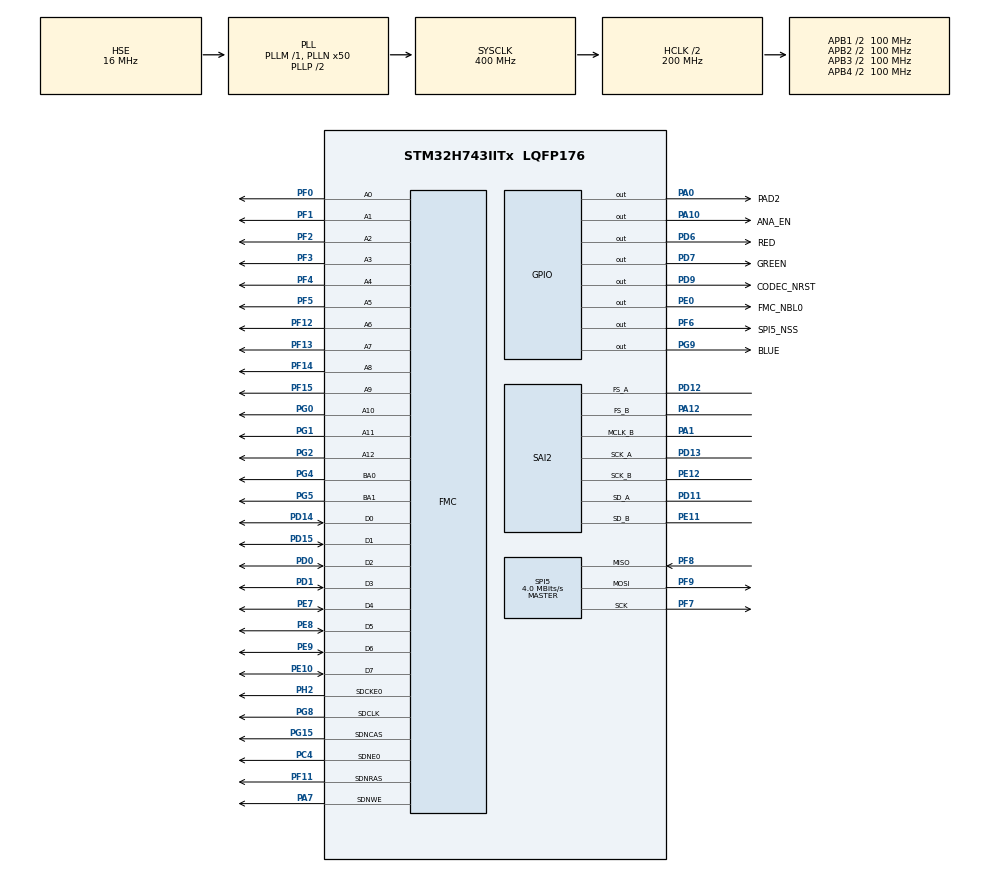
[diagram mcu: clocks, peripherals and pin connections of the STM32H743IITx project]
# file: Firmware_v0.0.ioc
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Bdma.MEMTOMEM.0.Direction=DMA_MEMORY_TO_MEMORY
Bdma.MEMTOMEM.0.EventEnable=DISABLE
Bdma.MEMTOMEM.0.Instance=BDMA_Channel0
Bdma.MEMTOMEM.0.MemDataAlignment=DMA_MDATAALIGN_BYTE
Bdma.MEMTOMEM.0.MemInc=DMA_MINC_ENABLE
Bdma.MEMTOMEM.0.Mode=DMA_NORMAL
Bdma.MEMTOMEM.0.PeriphDataAlignment=DMA_PDATAALIGN_WORD
Bdma.MEMTOMEM.0.PeriphInc=DMA_PINC_ENABLE
Bdma.MEMTOMEM.0.Polarity=HAL_DMAMUX_REQ_GEN_RISING
Bdma.MEMTOMEM.0.Priority=DMA_PRIORITY_LOW
Bdma.MEMTOMEM.0.RequestNumber=1
Bdma.MEMTOMEM.0.SignalID=HAL_DMAMUX2_REQ_GEN_LPTIM3_WKUP
Bdma.MEMTOMEM.0.SyncEnable=DISABLE
Bdma.MEMTOMEM.0.SyncPolarity=HAL_DMAMUX_SYNC_NO_EVENT
Bdma.MEMTOMEM.0.SyncRequestNumber=1
Bdma.MEMTOMEM.0.SyncSignalID=HAL_DMAMUX2_SYNC_LPTIM3_OUT
Bdma.Request0=MEMTOMEM
Bdma.RequestsNb=1
CORTEX_M7.CPU_DCache=Disabled
CORTEX_M7.CPU_ICache=Disabled
Dma.MEMTOMEM.0.Direction=DMA_MEMORY_TO_MEMORY
Dma.MEMTOMEM.0.EventEnable=DISABLE
Dma.MEMTOMEM.0.FIFOMode=DMA_FIFOMODE_ENABLE
Dma.MEMTOMEM.0.FIFOThreshold=DMA_FIFO_THRESHOLD_FULL
Dma.MEMTOMEM.0.Instance=DMA1_Stream2
Dma.MEMTOMEM.0.MemBurst=DMA_MBURST_SINGLE
Dma.MEMTOMEM.0.MemDataAlignment=DMA_MDATAALIGN_BYTE
Dma.MEMTOMEM.0.MemInc=DMA_MINC_DISABLE
Dma.MEMTOMEM.0.Mode=DMA_NORMAL
Dma.MEMTOMEM.0.PeriphBurst=DMA_PBURST_SINGLE
Dma.MEMTOMEM.0.PeriphDataAlignment=DMA_PDATAALIGN_BYTE
Dma.MEMTOMEM.0.PeriphInc=DMA_PINC_DISABLE
Dma.MEMTOMEM.0.Polarity=HAL_DMAMUX_REQ_GEN_RISING
Dma.MEMTOMEM.0.Priority=DMA_PRIORITY_VERY_HIGH
Dma.MEMTOMEM.0.RequestNumber=1
Dma.MEMTOMEM.0.SignalID=HAL_DMAMUX1_REQ_GEN_LPTIM3_OUT
Dma.MEMTOMEM.0.SyncEnable=DISABLE
Dma.MEMTOMEM.0.SyncPolarity=HAL_DMAMUX_SYNC_NO_EVENT
Dma.MEMTOMEM.0.SyncRequestNumber=1
Dma.MEMTOMEM.0.SyncSignalID=HAL_DMAMUX1_SYNC_LPTIM3_OUT
Dma.Request0=MEMTOMEM
Dma.Request1=SAI2_A
Dma.Request2=SAI2_B
Dma.SAI2_A.1.Direction=DMA_PERIPH_TO_MEMORY
Dma.SAI2_A.1.EventEnable=DISABLE
Dma.SAI2_A.1.FIFOMode=DMA_FIFOMODE_ENABLE
Dma.SAI2_A.1.FIFOThreshold=DMA_FIFO_THRESHOLD_FULL
Dma.SAI2_A.1.Instance=DMA1_Stream0
Dma.SAI2_A.1.MemBurst=DMA_MBURST_SINGLE
Dma.SAI2_A.1.MemDataAlignment=DMA_MDATAALIGN_WORD
Dma.SAI2_A.1.MemInc=DMA_MINC_ENABLE
Dma.SAI2_A.1.Mode=DMA_CIRCULAR
Dma.SAI2_A.1.PeriphBurst=DMA_PBURST_SINGLE
Dma.SAI2_A.1.PeriphDataAlignment=DMA_PDATAALIGN_WORD
Dma.SAI2_A.1.PeriphInc=DMA_PINC_DISABLE
Dma.SAI2_A.1.Polarity=HAL_DMAMUX_REQ_GEN_RISING
Dma.SAI2_A.1.Priority=DMA_PRIORITY_HIGH
Dma.SAI2_A.1.RequestNumber=1
Dma.SAI2_A.1.SignalID=HAL_DMAMUX1_REQ_GEN_LPTIM3_OUT
Dma.SAI2_A.1.SyncEnable=DISABLE
Dma.SAI2_A.1.SyncPolarity=HAL_DMAMUX_SYNC_NO_EVENT
Dma.SAI2_A.1.SyncRequestNumber=1
Dma.SAI2_A.1.SyncSignalID=HAL_DMAMUX1_SYNC_LPTIM3_OUT
Dma.SAI2_B.2.Direction=DMA_MEMORY_TO_PERIPH
Dma.SAI2_B.2.EventEnable=DISABLE
Dma.SAI2_B.2.FIFOMode=DMA_FIFOMODE_ENABLE
Dma.SAI2_B.2.FIFOThreshold=DMA_FIFO_THRESHOLD_FULL
Dma.SAI2_B.2.Instance=DMA1_Stream1
Dma.SAI2_B.2.MemBurst=DMA_MBURST_SINGLE
Dma.SAI2_B.2.MemDataAlignment=DMA_MDATAALIGN_WORD
Dma.SAI2_B.2.MemInc=DMA_MINC_ENABLE
Dma.SAI2_B.2.Mode=DMA_CIRCULAR
Dma.SAI2_B.2.PeriphBurst=DMA_PBURST_SINGLE
Dma.SAI2_B.2.PeriphDataAlignment=DMA_PDATAALIGN_WORD
Dma.SAI2_B.2.PeriphInc=DMA_PINC_DISABLE
Dma.SAI2_B.2.Polarity=HAL_DMAMUX_REQ_GEN_RISING
Dma.SAI2_B.2.Priority=DMA_PRIORITY_HIGH
Dma.SAI2_B.2.RequestNumber=1
Dma.SAI2_B.2.SignalID=HAL_DMAMUX1_REQ_GEN_LPTIM3_OUT
Dma.SAI2_B.2.SyncEnable=DISABLE
Dma.SAI2_B.2.SyncPolarity=HAL_DMAMUX_SYNC_NO_EVENT
Dma.SAI2_B.2.SyncRequestNumber=1
Dma.SAI2_B.2.SyncSignalID=HAL_DMAMUX1_SYNC_LPTIM3_OUT
FMC.CASLatency1=FMC_SDRAM_CAS_LATENCY_3
FMC.ColumnBitsNumber1=FMC_SDRAM_COLUMN_BITS_NUM_10
FMC.ExitSelfRefreshDelay1=9
FMC.LoadToActiveDelay1=2
FMC.RCDDelay1=8
FMC.RPDelay1=6
FMC.RPDelay2=6
FMC.ReadBurst1=FMC_SDRAM_RBURST_ENABLE
FMC.ReadBurst2=FMC_SDRAM_RBURST_ENABLE
FMC.RowCycleDelay1=2
FMC.RowCycleDelay2=2
FMC.SDClockPeriod1=FMC_SDRAM_CLOCK_PERIOD_2
FMC.SDClockPeriod2=FMC_SDRAM_CLOCK_PERIOD_2
FMC.SelfRefreshTime1=8
FMC.WriteRecoveryTime1=2
Mcu.Family=STM32H7
Mcu.Name=STM32H743IITx
Mcu.Package=LQFP176
NVIC.DMA1_Stream0_IRQn=true\:0\:0\:false\:false\:true\:false\:true
NVIC.DMA1_Stream1_IRQn=true\:0\:0\:false\:false\:true\:false\:true
NVIC.FMC_IRQn=true\:0\:0\:false\:false\:true\:true\:true
NVIC.LPTIM5_IRQn=true\:0\:0\:false\:false\:true\:true\:true
NVIC.PriorityGroup=NVIC_PRIORITYGROUP_4
NVIC.SAI2_IRQn=true\:0\:0\:false\:false\:true\:true\:true
NVIC.SPI5_IRQn=true\:0\:0\:false\:false\:true\:true\:true
PA0-WKUP.GPIO_Label=PAD2
PA0-WKUP.Signal=GPIO_Output
PA1.GPIO_Speed=GPIO_SPEED_FREQ_VERY_HIGH
PA1.Mode=SAI_B_MasterWithClock
PA1.Signal=SAI2_MCLK_B
PA10.GPIO_Label=ANA_EN
PA10.Signal=GPIO_Output
PA12.GPIO_Speed=GPIO_SPEED_FREQ_VERY_HIGH
PA12.Mode=SAI_B_MasterWithClock
PA12.Signal=SAI2_FS_B
PA7.Signal=FMC_SDNWE
PC14-OSC32_IN.Mode=LSE-External-Oscillator
PC14-OSC32_IN.Signal=RCC_OSC32_IN
PC15-OSC32_OUT.Mode=LSE-External-Oscillator
PC15-OSC32_OUT.Signal=RCC_OSC32_OUT
PC4.Mode=SdramChipSelect1_1
PC4.Signal=FMC_SDNE0
PD0.Signal=FMC_D2_DA2
PD1.Signal=FMC_D3_DA3
PD11.GPIO_Speed=GPIO_SPEED_FREQ_VERY_HIGH
PD11.Mode=SAI_A_Master
PD11.Signal=SAI2_SD_A
PD12.GPIO_Speed=GPIO_SPEED_FREQ_VERY_HIGH
PD12.Mode=SAI_A_Master
PD12.Signal=SAI2_FS_A
PD13.GPIO_Speed=GPIO_SPEED_FREQ_VERY_HIGH
PD13.Mode=SAI_A_Master
PD13.Signal=SAI2_SCK_A
PD14.Signal=FMC_D0_DA0
PD15.Signal=FMC_D1_DA1
PD6.GPIO_Label=RED
PD6.Signal=GPIO_Output
PD7.GPIO_Label=GREEN
PD7.Signal=GPIO_Output
PD9.GPIO_Label=CODEC_NRST
PD9.Signal=GPIO_Output
PE0.GPIO_Label=FMC_NBL0
PE0.Signal=GPIO_Output
PE10.Signal=FMC_D7_DA7
PE11.GPIO_Speed=GPIO_SPEED_FREQ_VERY_HIGH
PE11.Mode=SAI_B_MasterWithClock
PE11.Signal=SAI2_SD_B
PE12.GPIO_Speed=GPIO_SPEED_FREQ_VERY_HIGH
PE12.Mode=SAI_B_MasterWithClock
PE12.Signal=SAI2_SCK_B
PE7.Signal=FMC_D4_DA4
PE8.Signal=FMC_D5_DA5
PE9.Signal=FMC_D6_DA6
PF0.Signal=FMC_A0
PF1.Signal=FMC_A1
PF11.Signal=FMC_SDNRAS
PF12.Signal=FMC_A6
PF13.Signal=FMC_A7
PF14.Signal=FMC_A8
PF15.Signal=FMC_A9
PF2.Signal=FMC_A2
PF3.Signal=FMC_A3
PF4.Signal=FMC_A4
PF5.Signal=FMC_A5
PF6.GPIO_Label=SPI5_NSS
PF6.Signal=GPIO_Output
PF7.Mode=Full_Duplex_Master
PF7.Signal=SPI5_SCK
PF8.Mode=Full_Duplex_Master
PF8.Signal=SPI5_MISO
PF9.Mode=Full_Duplex_Master
PF9.Signal=SPI5_MOSI
PG0.Signal=FMC_A10
PG1.Signal=FMC_A11
PG15.Signal=FMC_SDNCAS
PG2.Signal=FMC_A12
PG4.Signal=FMC_A14_BA0
PG5.Signal=FMC_A15_BA1
PG8.Signal=FMC_SDCLK
PG9.GPIO_Label=BLUE
PG9.Signal=GPIO_Output
PH0-OSC_IN.Mode=HSE-External-Oscillator
PH0-OSC_IN.Signal=RCC_OSC_IN
PH1-OSC_OUT.Mode=HSE-External-Oscillator
PH1-OSC_OUT.Signal=RCC_OSC_OUT
PH2.Mode=SdramChipSelect1_1
PH2.Signal=FMC_SDCKE0
ProjectManager.HeapSize=0x200
ProjectManager.StackSize=0x400
ProjectManager.TargetToolchain=SW4STM32
RCC.ADCFreq_Value=80000000
RCC.APB1Freq_Value=100000000
RCC.APB2Freq_Value=100000000
RCC.APB3Freq_Value=100000000
RCC.APB4Freq_Value=100000000
RCC.CortexFreq_Value=400000000
RCC.D1PPRE=RCC_APB3_DIV2
RCC.D2PPRE1=RCC_APB1_DIV2
RCC.D2PPRE2=RCC_APB2_DIV2
RCC.D3PPRE=RCC_APB4_DIV2
RCC.DIVM1=1
RCC.DIVM2=1
RCC.DIVN1=50
RCC.DIVN2=10
RCC.HCLKFreq_Value=200000000
RCC.HPRE=RCC_HCLK_DIV2
RCC.HRTIMCLockSelection=RCC_HRTIM1CLK_CPUCLK
RCC.HSE_VALUE=16000000
RCC.PLLSourceVirtual=RCC_PLLSOURCE_HSE
RCC.SYSCLKFreq_VALUE=400000000
RCC.SYSCLKSource=RCC_SYSCLKSOURCE_PLLCLK
RCC.Spi45ClockSelection=RCC_SPI45CLKSOURCE_HSE
RCC.Tim1Mul=1
RCC.USBFreq_Value=400000000
SAI2.ActiveFrameLength-SAI_A_Master=1
SAI2.AudioFrequency-SAI_A_Master=SAI_AUDIO_FREQUENCY_96K
SAI2.AudioFrequency-SAI_B_MasterWithClock=SAI_AUDIO_FREQUENCY_96K
SAI2.AudioMode-SAI_A_Master=SAI_MODEMASTER_RX
SAI2.ClockStrobing-SAI_A_Master=SAI_CLOCKSTROBING_FALLINGEDGE
SAI2.ClockStrobing-SAI_B_MasterWithClock=SAI_CLOCKSTROBING_RISINGEDGE
SAI2.DataSize-SAI_A_Master=SAI_DATASIZE_32
SAI2.DataSize-SAI_B_MasterWithClock=SAI_DATASIZE_32
SAI2.ErrorAudioFreq-SAI_A_Master=1.72 %
SAI2.ErrorAudioFreq-SAI_B_MasterWithClock=1.72 %
SAI2.FIFOThreshold-SAI_A_Master=SAI_FIFOTHRESHOLD_FULL
SAI2.FIFOThreshold-SAI_B_MasterWithClock=SAI_FIFOTHRESHOLD_FULL
SAI2.FSPolarity-SAI_A_Master=SAI_FS_ACTIVE_HIGH
SAI2.FSPolarity-SAI_B_MasterWithClock=SAI_FS_ACTIVE_HIGH
SAI2.FrameLength-SAI_A_Master=256
SAI2.FrameLength-SAI_B_MasterWithClock=256
SAI2.Instance-SAI_A_Master=SAI$Index_Block_A
SAI2.Instance-SAI_B_MasterWithClock=SAI$Index_Block_B
SAI2.MClockEnable-SAI_A_Master=SAI_MASTERCLOCK_DISABLE
SAI2.MClockEnable-SAI_B_MasterWithClock=SAI_MASTERCLOCK_ENABLE
SAI2.MonoStereoMode-SAI_A_Master=SAI_STEREOMODE
SAI2.OutputDrive-SAI_A_Master=SAI_OUTPUTDRIVE_ENABLE
SAI2.OutputDrive-SAI_B_MasterWithClock=SAI_OUTPUTDRIVE_ENABLE
SAI2.RealAudioFreq-SAI_A_Master=97.656 KHz
SAI2.RealAudioFreq-SAI_B_MasterWithClock=97.656 KHz
SAI2.SlotActive-SAI_A_Master=0x000000FF
SAI2.SlotActive-SAI_B_MasterWithClock=0x000000FF
SAI2.SlotNumber-SAI_A_Master=8
SAI2.SlotNumber-SAI_B_MasterWithClock=8
SAI2.SlotSize-SAI_A_Master=SAI_SLOTSIZE_DATASIZE
SAI2.Synchro-SAI_A_Master=SAI_ASYNCHRONOUS
SAI2.Synchro-SAI_B_MasterWithClock=SAI_ASYNCHRONOUS
SAI2.SynchroExt-SAI_A_Master=SAI_SYNCEXT_OUTBLOCKB_ENABLE
SAI2.VirtualMode-SAI_A_Master=VM_MASTER
SAI2.VirtualMode-SAI_B_MasterWithClock=VM_MASTER
SAI2.VirtualSlotActive-SAI_A_Master=SAI_SLOT_USERSETTING
SAI2.VirtualSlotActive-SAI_B_MasterWithClock=SAI_SLOT_USERSETTING
SAI2.VirtualSlotActive0-SAI_A_Master=true
SAI2.VirtualSlotActive0-SAI_B_MasterWithClock=true
SAI2.VirtualSlotActive1-SAI_A_Master=true
SAI2.VirtualSlotActive1-SAI_B_MasterWithClock=true
SAI2.VirtualSlotActive2-SAI_A_Master=true
SAI2.VirtualSlotActive2-SAI_B_MasterWithClock=true
SAI2.VirtualSlotActive3-SAI_A_Master=true
SAI2.VirtualSlotActive3-SAI_B_MasterWithClock=true
SAI2.VirtualSlotActive4-SAI_A_Master=true
SAI2.VirtualSlotActive4-SAI_B_MasterWithClock=true
SAI2.VirtualSlotActive5-SAI_A_Master=true
SAI2.VirtualSlotActive5-SAI_B_MasterWithClock=true
SAI2.VirtualSlotActive6-SAI_A_Master=true
SAI2.VirtualSlotActive6-SAI_B_MasterWithClock=true
SAI2.VirtualSlotActive7-SAI_A_Master=true
SAI2.VirtualSlotActive7-SAI_B_MasterWithClock=true
SH.FMC_A0.0=FMC_A0,13b-sda1
SH.FMC_A1.0=FMC_A1,13b-sda1
SH.FMC_A10.0=FMC_A10,13b-sda1
SH.FMC_A11.0=FMC_A11,13b-sda1
SH.FMC_A12.0=FMC_A12,13b-sda1
SH.FMC_A14_BA0.0=FMC_BA0,FourSdramBanks1
SH.FMC_A15_BA1.0=FMC_BA1,FourSdramBanks1
SH.FMC_A2.0=FMC_A2,13b-sda1
SH.FMC_A3.0=FMC_A3,13b-sda1
SH.FMC_A4.0=FMC_A4,13b-sda1
SH.FMC_A5.0=FMC_A5,13b-sda1
SH.FMC_A6.0=FMC_A6,13b-sda1
SH.FMC_A7.0=FMC_A7,13b-sda1
SH.FMC_A8.0=FMC_A8,13b-sda1
SH.FMC_A9.0=FMC_A9,13b-sda1
SH.FMC_D0_DA0.0=FMC_D0,sd-8b-d1
SH.FMC_D1_DA1.0=FMC_D1,sd-8b-d1
SH.FMC_D2_DA2.0=FMC_D2,sd-8b-d1
SH.FMC_D3_DA3.0=FMC_D3,sd-8b-d1
SH.FMC_D4_DA4.0=FMC_D4,sd-8b-d1
SH.FMC_D5_DA5.0=FMC_D5,sd-8b-d1
SH.FMC_D6_DA6.0=FMC_D6,sd-8b-d1
SH.FMC_D7_DA7.0=FMC_D7,sd-8b-d1
SH.FMC_SDCLK.0=FMC_SDCLK,13b-sda1
SH.FMC_SDNCAS.0=FMC_SDNCAS,13b-sda1
SH.FMC_SDNRAS.0=FMC_SDNRAS,13b-sda1
SH.FMC_SDNWE.0=FMC_SDNWE,13b-sda1
SPI5.BaudRatePrescaler=SPI_BAUDRATEPRESCALER_4
SPI5.CLKPhase=SPI_PHASE_2EDGE
SPI5.CLKPolarity=SPI_POLARITY_LOW
SPI5.CalculateBaudRate=4.0 MBits/s
SPI5.DataSize=SPI_DATASIZE_8BIT
SPI5.Direction=SPI_DIRECTION_2LINES
SPI5.FifoThreshold=SPI_FIFO_THRESHOLD_08DATA
SPI5.FirstBit=SPI_FIRSTBIT_MSB
SPI5.Mode=SPI_MODE_MASTER
SPI5.VirtualType=VM_MASTER
VP_LPTIM3_VS_LPTIM_counterModeInternalClock.Mode=Counts__internal_clock_event_00
VP_LPTIM5_VS_LPTIM_counterModeInternalClock.Mode=Counts__internal_clock_event_00
board=Firmware_v0.0

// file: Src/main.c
/**
  ******************************************************************************
  * @file           : main.c
  * @brief          : Main program body
  ******************************************************************************
  ** This notice applies to any and all portions of this file
  * that are not between comment pairs USER CODE BEGIN and
  * USER CODE END. Other portions of this file, whether
  * inserted by the user or by software development tools
  * are owned by their respective copyright owners.
  *
  * COPYRIGHT(c) 2018 STMicroelectronics
  *
  * Redistribution and use in source and binary forms, with or without modification,
  * are permitted provided that the following conditions are met:
  *   1. Redistributions of source code must retain the above copyright notice,
  *      this list of conditions and the following disclaimer.
  *   2. Redistributions in binary form must reproduce the above copyright notice,
  *      this list of conditions and the following disclaimer in the documentation
  *      and/or other materials provided with the distribution.
  *   3. Neither the name of STMicroelectronics nor the names of its contributors
  *      may be used to endorse or promote products derived from this software
  *      without specific prior written permission.
  *
  * THIS SOFTWARE IS PROVIDED BY THE COPYRIGHT HOLDERS AND CONTRIBUTORS "AS IS"
  * AND ANY EXPRESS OR IMPLIED WARRANTIES, INCLUDING, BUT NOT LIMITED TO, THE
  * IMPLIED WARRANTIES OF MERCHANTABILITY AND FITNESS FOR A PARTICULAR PURPOSE ARE
  * DISCLAIMED. IN NO EVENT SHALL THE COPYRIGHT HOLDER OR CONTRIBUTORS BE LIABLE
  * FOR ANY DIRECT, INDIRECT, INCIDENTAL, SPECIAL, EXEMPLARY, OR CONSEQUENTIAL
  * DAMAGES (INCLUDING, BUT NOT LIMITED TO, PROCUREMENT OF SUBSTITUTE GOODS OR
  * SERVICES; LOSS OF USE, DATA, OR PROFITS; OR BUSINESS INTERRUPTION) HOWEVER
  * CAUSED AND ON ANY THEORY OF LIABILITY, WHETHER IN CONTRACT, STRICT LIABILITY,
  * OR TORT (INCLUDING NEGLIGENCE OR OTHERWISE) ARISING IN ANY WAY OUT OF THE USE
  * OF THIS SOFTWARE, EVEN IF ADVISED OF THE POSSIBILITY OF SUCH DAMAGE.
  *
  ******************************************************************************
  */
#include "main.h"
#include "stm32h7xx_hal.h"

/* USER CODE BEGIN Includes */
#include "SDRAM.h"
#include "CODEC.h"
#include <stdlib.h>

#define DEBUG

#ifdef DEBUG
	#define R_H RED_GPIO_Port->BSRRH = RED_Pin;
	#define R_L RED_GPIO_Port->BSRRL = RED_Pin;
	#define G_H GREEN_GPIO_Port->BSRRH = GREEN_Pin;
	#define G_L GREEN_GPIO_Port->BSRRL = GREEN_Pin;
	#define B_H BLUE_GPIO_Port->BSRRH = BLUE_Pin;
	#define B_L BLUE_GPIO_Port->BSRRL = BLUE_Pin;
#endif

#define DTCRAM 0x20000000 	//128k
#define RAM_D1 0x24000000	//512k
#define RAM_D2 0x30000000	//288k
#define RAM_D3 0x38000000	//64k
#define ITCMRAM 0x00000000	//64k

/* USER CODE END Includes */

LPTIM_HandleTypeDef hlptim3;
LPTIM_HandleTypeDef hlptim5;

SAI_HandleTypeDef hsai_BlockA2;
SAI_HandleTypeDef hsai_BlockB2;
DMA_HandleTypeDef hdma_sai2_a;
DMA_HandleTypeDef hdma_sai2_b;

SPI_HandleTypeDef hspi5;

DMA_HandleTypeDef hdma_memtomem_bdma_channel0;
DMA_HandleTypeDef hdma_memtomem_dma1_stream2;
SDRAM_HandleTypeDef hsdram1;

/* USER CODE BEGIN PV */
/* Private variables ---------------------------------------------------------*/
uint32_t BlockSize = 24;	//Maximum 3072
uint32_t MemSize;
uint32_t GetSize;

uint8_t * Block1;
uint8_t * Block2;
uint8_t * Block3;

uint8_t * pIn;
uint8_t * pEdit;
uint8_t * pOut;
uint8_t * pSwitch;

uint8_t cntSample = 0;

uint8_t EditSR = 0;
#define newBlock 1
#define editDone 2

/* USER CODE END PV */

void SystemClock_Config(void);
static void MX_GPIO_Init(void);
static void MX_BDMA_Init(void);
static void MX_DMA_Init(void);
static void MX_FMC_Init(void);
static void MX_SAI2_Init(void);
static void MX_SPI5_Init(void);
static void MX_LPTIM5_Init(void);
static void MX_LPTIM3_Init(void);

/* USER CODE BEGIN PFP */
/* Private function prototypes -----------------------------------------------*/

void HAL_SAI_RxCpltCallback(SAI_HandleTypeDef *hsai)
{
	/*HAL_DMA_Start(&hdma_memtomem_dma2_stream0, (uint32_t)Block2, (uint32_t)Block3, MemSize);*/
	//HAL_DMA_Start_IT(&hdma_memtomem_dma1_stream2, (uint32_t)Block1, (uint32_t)Block3, MemSize);
	EditSR = 0;
}
void HAL_SAI_TxCpltCallback(SAI_HandleTypeDef *hsai)
{

}

/* USER CODE END PFP */

int main(void)
{

  /* MCU Configuration----------------------------------------------------------*/

  /* Reset of all peripherals, Initializes the Flash interface and the Systick. */
  HAL_Init();

  /* Configure the system clock */
  SystemClock_Config();

  /* Initialize all configured peripherals */
  MX_GPIO_Init();
  MX_BDMA_Init();
  MX_DMA_Init();
  MX_FMC_Init();
  MX_SAI2_Init();
  MX_SPI5_Init();
  MX_LPTIM5_Init();
  MX_LPTIM3_Init();
  /* USER CODE BEGIN 2 */
#ifdef DEBUG
  G_L;
  B_L;
  HAL_Delay(250);

  R_L;
  G_H;
  HAL_Delay(250);

  G_L
  B_H;
  HAL_Delay(250);

  B_L;
  HAL_Delay(250);
#endif

    MemSize = 32 * BlockSize;
    GetSize = 8 * BlockSize;

    /*Allocate Blocks*/
    Block1 = (uint8_t *) RAM_D2;
    Block2 = (uint8_t *) RAM_D2 + MemSize;
    Block3 = (uint8_t *) RAM_D2 + MemSize + MemSize;

	/*Configure CODEC for TDM*/
	CODEC_Init_TDM(hspi5);

	/*Start Sampling Process*/
	SAI2_Block_B->CR1 |= 0x1000;
	if (HAL_SAI_Receive_DMA(&hsai_BlockA2, Block1, GetSize) == HAL_OK)
	{
		HAL_SAI_Transmit_DMA(&hsai_BlockB2, Block3, GetSize);
	}
	else
	{

		#ifdef DEBUG
			R_H;
		#endif
	}

  //SDRAM_init(hsdram1);

  /* USER CODE END 2 */

  /* Infinite loop */
  /* USER CODE BEGIN WHILE */
  while (1)
  {
	  G_H;
	  /*New Block available for Editing*/

		  /* DSP CODE BEGIN */

		  /*for (uint8_t x = 0; x < BlockSize; x++)
		  {
			  Block3[4+x*32] = Block1[4+x*32];
			  Block3[5+x*32] = Block1[5+x*32];
			  Block3[6+x*32] = Block1[6+x*32];
			  Block3[7+x*32] = Block1[7+x*32];

			  Block3[8+x*32] = Block1[4+x*32];
			  Block3[9+x*32] = Block1[5+x*32];
			  Block3[10+x*32] = Block1[6+x*32];
			  Block3[11+x*32] = Block1[7+x*32];
		  }*/
	  if (EditSR == 0)
	  {
		  B_H;

			/*for (uint16_t x = 0; x < MemSize; x++)
			{
				Block3[x] = Block2[x];

				Block2[x] = Block1[x];
			}*/
		  /*for (uint8_t x = 0; x < BlockSize; x++)
		  {
			  Block3[4+x*32] = Block1[8+x*32];
			  Block3[5+x*32] = Block1[9+x*32];
			  Block3[6+x*32] = Block1[10+x*32];
			  Block3[7+x*32] = Block1[11+x*32];

			  Block3[8+x*32] = Block1[12+x*32];
			  Block3[9+x*32] = Block1[13+x*32];
			  Block3[10+x*32] = Block1[14+x*32];
			  Block3[11+x*32] = Block1[15+x*32];
		  }*/
			  HAL_DMA_Start(&hdma_memtomem_dma1_stream2, (uint32_t)Block1, (uint32_t)Block3, MemSize);

		  EditSR = 1;
	  }
	  B_L;
		  /* DSP CODE END */

	  G_L;

  /* USER CODE END WHILE */

  }

}

void SystemClock_Config(void)
{

  RCC_OscInitTypeDef RCC_OscInitStruct;
  RCC_ClkInitTypeDef RCC_ClkInitStruct;
  RCC_PeriphCLKInitTypeDef PeriphClkInitStruct;

    /**Supply configuration update enable
    */
  MODIFY_REG(PWR->CR3, PWR_CR3_SCUEN, 0);

    /**Configure the main internal regulator output voltage
    */
  __HAL_PWR_VOLTAGESCALING_CONFIG(PWR_REGULATOR_VOLTAGE_SCALE1);

  while ((PWR->D3CR & (PWR_D3CR_VOSRDY)) != PWR_D3CR_VOSRDY)
  {

  }
    /**Initializes the CPU, AHB and APB busses clocks
    */
  RCC_OscInitStruct.OscillatorType = RCC_OSCILLATORTYPE_HSE;
  RCC_OscInitStruct.HSEState = RCC_HSE_ON;
  RCC_OscInitStruct.PLL.PLLState = RCC_PLL_ON;
  RCC_OscInitStruct.PLL.PLLSource = RCC_PLLSOURCE_HSE;
  RCC_OscInitStruct.PLL.PLLM = 1;
  RCC_OscInitStruct.PLL.PLLN = 50;
  RCC_OscInitStruct.PLL.PLLP = 2;
  RCC_OscInitStruct.PLL.PLLQ = 2;
  RCC_OscInitStruct.PLL.PLLR = 2;
  RCC_OscInitStruct.PLL.PLLRGE = RCC_PLL1VCIRANGE_3;
  RCC_OscInitStruct.PLL.PLLVCOSEL = RCC_PLL1VCOWIDE;
  RCC_OscInitStruct.PLL.PLLFRACN = 0;
  if (HAL_RCC_OscConfig(&RCC_OscInitStruct) != HAL_OK)
  {
    _Error_Handler(__FILE__, __LINE__);
  }

    /**Initializes the CPU, AHB and APB busses clocks
    */
  RCC_ClkInitStruct.ClockType = RCC_CLOCKTYPE_HCLK|RCC_CLOCKTYPE_SYSCLK
                              |RCC_CLOCKTYPE_PCLK1|RCC_CLOCKTYPE_PCLK2
                              |RCC_CLOCKTYPE_D3PCLK1|RCC_CLOCKTYPE_D1PCLK1;
  RCC_ClkInitStruct.SYSCLKSource = RCC_SYSCLKSOURCE_PLLCLK;
  RCC_ClkInitStruct.SYSCLKDivider = RCC_SYSCLK_DIV1;
  RCC_ClkInitStruct.AHBCLKDivider = RCC_HCLK_DIV2;
  RCC_ClkInitStruct.APB3CLKDivider = RCC_APB3_DIV2;
  RCC_ClkInitStruct.APB1CLKDivider = RCC_APB1_DIV2;
  RCC_ClkInitStruct.APB2CLKDivider = RCC_APB2_DIV2;
  RCC_ClkInitStruct.APB4CLKDivider = RCC_APB4_DIV2;

  if (HAL_RCC_ClockConfig(&RCC_ClkInitStruct, FLASH_LATENCY_2) != HAL_OK)
  {
    _Error_Handler(__FILE__, __LINE__);
  }

  PeriphClkInitStruct.PeriphClockSelection = RCC_PERIPHCLK_SPI5|RCC_PERIPHCLK_SAI2
                              |RCC_PERIPHCLK_LPTIM5|RCC_PERIPHCLK_LPTIM3
                              |RCC_PERIPHCLK_FMC;
  PeriphClkInitStruct.FmcClockSelection = RCC_FMCCLKSOURCE_D1HCLK;
  PeriphClkInitStruct.Sai23ClockSelection = RCC_SAI23CLKSOURCE_PLL;
  PeriphClkInitStruct.Spi45ClockSelection = RCC_SPI45CLKSOURCE_HSE;
  PeriphClkInitStruct.Lptim345ClockSelection = RCC_LPTIM345CLKSOURCE_D3PCLK1;
  if (HAL_RCCEx_PeriphCLKConfig(&PeriphClkInitStruct) != HAL_OK)
  {
    _Error_Handler(__FILE__, __LINE__);
  }

    /**Configure the Systick interrupt time
    */
  HAL_SYSTICK_Config(SystemCoreClock/1000);

    /**Configure the Systick
    */
  HAL_SYSTICK_CLKSourceConfig(SYSTICK_CLKSOURCE_HCLK);

  /* SysTick_IRQn interrupt configuration */
  HAL_NVIC_SetPriority(SysTick_IRQn, 0, 0);
}

/* LPTIM3 init function */
static void MX_LPTIM3_Init(void)
{

  hlptim3.Instance = LPTIM3;
  hlptim3.Init.Clock.Source = LPTIM_CLOCKSOURCE_APBCLOCK_LPOSC;
  hlptim3.Init.Clock.Prescaler = LPTIM_PRESCALER_DIV1;
  hlptim3.Init.Trigger.Source = LPTIM_TRIGSOURCE_SOFTWARE;
  hlptim3.Init.OutputPolarity = LPTIM_OUTPUTPOLARITY_HIGH;
  hlptim3.Init.UpdateMode = LPTIM_UPDATE_IMMEDIATE;
  hlptim3.Init.CounterSource = LPTIM_COUNTERSOURCE_INTERNAL;
  hlptim3.Init.Input1Source = LPTIM_INPUT1SOURCE_GPIO;
  if (HAL_LPTIM_Init(&hlptim3) != HAL_OK)
  {
    _Error_Handler(__FILE__, __LINE__);
  }

}

/* LPTIM5 init function */
static void MX_LPTIM5_Init(void)
{

  hlptim5.Instance = LPTIM5;
  hlptim5.Init.Clock.Source = LPTIM_CLOCKSOURCE_APBCLOCK_LPOSC;
  hlptim5.Init.Clock.Prescaler = LPTIM_PRESCALER_DIV1;
  hlptim5.Init.Trigger.Source = LPTIM_TRIGSOURCE_SOFTWARE;
  hlptim5.Init.OutputPolarity = LPTIM_OUTPUTPOLARITY_HIGH;
  hlptim5.Init.UpdateMode = LPTIM_UPDATE_IMMEDIATE;
  hlptim5.Init.CounterSource = LPTIM_COUNTERSOURCE_INTERNAL;
  if (HAL_LPTIM_Init(&hlptim5) != HAL_OK)
  {
    _Error_Handler(__FILE__, __LINE__);
  }

}

/* SAI2 init function */
static void MX_SAI2_Init(void)
{

  hsai_BlockA2.Instance = SAI2_Block_A;
  hsai_BlockA2.Init.Protocol = SAI_FREE_PROTOCOL;
  hsai_BlockA2.Init.AudioMode = SAI_MODEMASTER_RX;
  hsai_BlockA2.Init.DataSize = SAI_DATASIZE_32;
  hsai_BlockA2.Init.FirstBit = SAI_FIRSTBIT_MSB;
  hsai_BlockA2.Init.ClockStrobing = SAI_CLOCKSTROBING_FALLINGEDGE;
  hsai_BlockA2.Init.Synchro = SAI_ASYNCHRONOUS;
  hsai_BlockA2.Init.OutputDrive = SAI_OUTPUTDRIVE_ENABLE;
  hsai_BlockA2.Init.NoDivider = SAI_MASTERDIVIDER_ENABLE;
  hsai_BlockA2.Init.FIFOThreshold = SAI_FIFOTHRESHOLD_FULL;
  hsai_BlockA2.Init.AudioFrequency = SAI_AUDIO_FREQUENCY_96K;
  hsai_BlockA2.Init.SynchroExt = SAI_SYNCEXT_OUTBLOCKB_ENABLE;
  hsai_BlockA2.Init.MonoStereoMode = SAI_STEREOMODE;
  hsai_BlockA2.Init.CompandingMode = SAI_NOCOMPANDING;
  hsai_BlockA2.Init.PdmInit.Activation = DISABLE;
  hsai_BlockA2.Init.PdmInit.MicPairsNbr = 0;
  hsai_BlockA2.Init.PdmInit.ClockEnable = SAI_PDM_CLOCK1_ENABLE;
  hsai_BlockA2.FrameInit.FrameLength = 256;
  hsai_BlockA2.FrameInit.ActiveFrameLength = 1;
  hsai_BlockA2.FrameInit.FSDefinition = SAI_FS_STARTFRAME;
  hsai_BlockA2.FrameInit.FSPolarity = SAI_FS_ACTIVE_HIGH;
  hsai_BlockA2.FrameInit.FSOffset = SAI_FS_FIRSTBIT;
  hsai_BlockA2.SlotInit.FirstBitOffset = 0;
  hsai_BlockA2.SlotInit.SlotSize = SAI_SLOTSIZE_DATASIZE;
  hsai_BlockA2.SlotInit.SlotNumber = 8;
  hsai_BlockA2.SlotInit.SlotActive = 0x000000FF;
  if (HAL_SAI_Init(&hsai_BlockA2) != HAL_OK)
  {
    _Error_Handler(__FILE__, __LINE__);
  }

  hsai_BlockB2.Instance = SAI2_Block_B;
  hsai_BlockB2.Init.Protocol = SAI_FREE_PROTOCOL;
  hsai_BlockB2.Init.AudioMode = SAI_MODEMASTER_TX;
  hsai_BlockB2.Init.DataSize = SAI_DATASIZE_32;
  hsai_BlockB2.Init.FirstBit = SAI_FIRSTBIT_MSB;
  hsai_BlockB2.Init.ClockStrobing = SAI_CLOCKSTROBING_RISINGEDGE;
  hsai_BlockB2.Init.Synchro = SAI_ASYNCHRONOUS;
  hsai_BlockB2.Init.OutputDrive = SAI_OUTPUTDRIVE_ENABLE;
  hsai_BlockB2.Init.NoDivider = SAI_MASTERDIVIDER_ENABLE;
  hsai_BlockB2.Init.FIFOThreshold = SAI_FIFOTHRESHOLD_FULL;
  hsai_BlockB2.Init.AudioFrequency = SAI_AUDIO_FREQUENCY_96K;
  hsai_BlockB2.Init.SynchroExt = SAI_SYNCEXT_DISABLE;
  hsai_BlockB2.Init.MonoStereoMode = SAI_STEREOMODE;
  hsai_BlockB2.Init.CompandingMode = SAI_NOCOMPANDING;
  hsai_BlockB2.Init.TriState = SAI_OUTPUT_NOTRELEASED;
  hsai_BlockB2.Init.PdmInit.Activation = DISABLE;
  hsai_BlockB2.Init.PdmInit.MicPairsNbr = 0;
  hsai_BlockB2.Init.PdmInit.ClockEnable = SAI_PDM_CLOCK1_ENABLE;
  hsai_BlockB2.FrameInit.FrameLength = 256;
  hsai_BlockB2.FrameInit.ActiveFrameLength = 1;
  hsai_BlockB2.FrameInit.FSDefinition = SAI_FS_STARTFRAME;
  hsai_BlockB2.FrameInit.FSPolarity = SAI_FS_ACTIVE_HIGH;
  hsai_BlockB2.FrameInit.FSOffset = SAI_FS_FIRSTBIT;
  hsai_BlockB2.SlotInit.FirstBitOffset = 0;
  hsai_BlockB2.SlotInit.SlotSize = SAI_SLOTSIZE_DATASIZE;
  hsai_BlockB2.SlotInit.SlotNumber = 8;
  hsai_BlockB2.SlotInit.SlotActive = 0x000000FF;
  if (HAL_SAI_Init(&hsai_BlockB2) != HAL_OK)
  {
    _Error_Handler(__FILE__, __LINE__);
  }

}

/* SPI5 init function */
static void MX_SPI5_Init(void)
{

  /* SPI5 parameter configuration*/
  hspi5.Instance = SPI5;
  hspi5.Init.Mode = SPI_MODE_MASTER;
  hspi5.Init.Direction = SPI_DIRECTION_2LINES;
  hspi5.Init.DataSize = SPI_DATASIZE_8BIT;
  hspi5.Init.CLKPolarity = SPI_POLARITY_LOW;
  hspi5.Init.CLKPhase = SPI_PHASE_2EDGE;
  hspi5.Init.NSS = SPI_NSS_SOFT;
  hspi5.Init.BaudRatePrescaler = SPI_BAUDRATEPRESCALER_4;
  hspi5.Init.FirstBit = SPI_FIRSTBIT_MSB;
  hspi5.Init.TIMode = SPI_TIMODE_DISABLE;
  hspi5.Init.CRCCalculation = SPI_CRCCALCULATION_DISABLE;
  hspi5.Init.CRCPolynomial = 7;
  hspi5.Init.NSSPMode = SPI_NSS_PULSE_ENABLE;
  hspi5.Init.NSSPolarity = SPI_NSS_POLARITY_LOW;
  hspi5.Init.FifoThreshold = SPI_FIFO_THRESHOLD_08DATA;
  hspi5.Init.TxCRCInitializationPattern = SPI_CRC_INITIALIZATION_ALL_ZERO_PATTERN;
  hspi5.Init.RxCRCInitializationPattern = SPI_CRC_INITIALIZATION_ALL_ZERO_PATTERN;
  hspi5.Init.MasterSSIdleness = SPI_MASTER_SS_IDLENESS_00CYCLE;
  hspi5.Init.MasterInterDataIdleness = SPI_MASTER_INTERDATA_IDLENESS_00CYCLE;
  hspi5.Init.MasterReceiverAutoSusp = SPI_MASTER_INTERDATA_IDLENESS_00CYCLE;
  hspi5.Init.MasterKeepIOState = SPI_MASTER_KEEP_IO_STATE_DISABLE;
  hspi5.Init.IOSwap = SPI_IO_SWAP_DISABLE;
  if (HAL_SPI_Init(&hspi5) != HAL_OK)
  {
    _Error_Handler(__FILE__, __LINE__);
  }

}

static void MX_BDMA_Init(void)
{
  /* DMA controller clock enable */
  __HAL_RCC_BDMA_CLK_ENABLE();

  /* Configure DMA request hdma_memtomem_bdma_channel0 on BDMA_Channel0 */
  hdma_memtomem_bdma_channel0.Instance = BDMA_Channel0;
  hdma_memtomem_bdma_channel0.Init.Request = BDMA_REQUEST_MEM2MEM;
  hdma_memtomem_bdma_channel0.Init.Direction = DMA_MEMORY_TO_MEMORY;
  hdma_memtomem_bdma_channel0.Init.PeriphInc = DMA_PINC_ENABLE;
  hdma_memtomem_bdma_channel0.Init.MemInc = DMA_MINC_ENABLE;
  hdma_memtomem_bdma_channel0.Init.PeriphDataAlignment = DMA_PDATAALIGN_WORD;
  hdma_memtomem_bdma_channel0.Init.MemDataAlignment = DMA_MDATAALIGN_BYTE;
  hdma_memtomem_bdma_channel0.Init.Mode = DMA_NORMAL;
  hdma_memtomem_bdma_channel0.Init.Priority = DMA_PRIORITY_LOW;
  if (HAL_DMA_Init(&hdma_memtomem_bdma_channel0) != HAL_OK)
  {
    _Error_Handler(__FILE__, __LINE__);
  }

}

static void MX_DMA_Init(void)
{
  /* DMA controller clock enable */
  __HAL_RCC_DMA1_CLK_ENABLE();

  /* Configure DMA request hdma_memtomem_dma1_stream2 on DMA1_Stream2 */
  hdma_memtomem_dma1_stream2.Instance = DMA1_Stream2;
  hdma_memtomem_dma1_stream2.Init.Request = DMA_REQUEST_MEM2MEM;
  hdma_memtomem_dma1_stream2.Init.Direction = DMA_MEMORY_TO_MEMORY;
  hdma_memtomem_dma1_stream2.Init.PeriphInc = DMA_PINC_DISABLE;
  hdma_memtomem_dma1_stream2.Init.MemInc = DMA_MINC_DISABLE;
  hdma_memtomem_dma1_stream2.Init.PeriphDataAlignment = DMA_PDATAALIGN_BYTE;
  hdma_memtomem_dma1_stream2.Init.MemDataAlignment = DMA_MDATAALIGN_BYTE;
  hdma_memtomem_dma1_stream2.Init.Mode = DMA_NORMAL;
  hdma_memtomem_dma1_stream2.Init.Priority = DMA_PRIORITY_VERY_HIGH;
  hdma_memtomem_dma1_stream2.Init.FIFOMode = DMA_FIFOMODE_ENABLE;
  hdma_memtomem_dma1_stream2.Init.FIFOThreshold = DMA_FIFO_THRESHOLD_FULL;
  hdma_memtomem_dma1_stream2.Init.MemBurst = DMA_MBURST_SINGLE;
  hdma_memtomem_dma1_stream2.Init.PeriphBurst = DMA_PBURST_SINGLE;
  if (HAL_DMA_Init(&hdma_memtomem_dma1_stream2) != HAL_OK)
  {
    _Error_Handler(__FILE__, __LINE__);
  }

  /* DMA interrupt init */
  /* DMA1_Stream0_IRQn interrupt configuration */
  HAL_NVIC_SetPriority(DMA1_Stream0_IRQn, 0, 0);
  HAL_NVIC_EnableIRQ(DMA1_Stream0_IRQn);
  /* DMA1_Stream1_IRQn interrupt configuration */
  HAL_NVIC_SetPriority(DMA1_Stream1_IRQn, 0, 0);
  HAL_NVIC_EnableIRQ(DMA1_Stream1_IRQn);

}
/* FMC initialization function */
static void MX_FMC_Init(void)
{
  FMC_SDRAM_TimingTypeDef SdramTiming;

  /** Perform the SDRAM1 memory initialization sequence
  */
  hsdram1.Instance = FMC_SDRAM_DEVICE;
  /* hsdram1.Init */
  hsdram1.Init.SDBank = FMC_SDRAM_BANK1;
  hsdram1.Init.ColumnBitsNumber = FMC_SDRAM_COLUMN_BITS_NUM_10;
  hsdram1.Init.RowBitsNumber = FMC_SDRAM_ROW_BITS_NUM_13;
  hsdram1.Init.MemoryDataWidth = FMC_SDRAM_MEM_BUS_WIDTH_8;
  hsdram1.Init.InternalBankNumber = FMC_SDRAM_INTERN_BANKS_NUM_4;
  hsdram1.Init.CASLatency = FMC_SDRAM_CAS_LATENCY_3;
  hsdram1.Init.WriteProtection = FMC_SDRAM_WRITE_PROTECTION_DISABLE;
  hsdram1.Init.SDClockPeriod = FMC_SDRAM_CLOCK_PERIOD_2;
  hsdram1.Init.ReadBurst = FMC_SDRAM_RBURST_ENABLE;
  hsdram1.Init.ReadPipeDelay = FMC_SDRAM_RPIPE_DELAY_0;
  /* SdramTiming */
  SdramTiming.LoadToActiveDelay = 2;
  SdramTiming.ExitSelfRefreshDelay = 9;
  SdramTiming.SelfRefreshTime = 8;
  SdramTiming.RowCycleDelay = 2;
  SdramTiming.WriteRecoveryTime = 2;
  SdramTiming.RPDelay = 6;
  SdramTiming.RCDDelay = 8;

  if (HAL_SDRAM_Init(&hsdram1, &SdramTiming) != HAL_OK)
  {
    _Error_Handler(__FILE__, __LINE__);
  }

}

/** Configure pins as
        * Analog
        * Input
        * Output
        * EVENT_OUT
        * EXTI
*/
static void MX_GPIO_Init(void)
{

  GPIO_InitTypeDef GPIO_InitStruct;

  /* GPIO Ports Clock Enable */
  __HAL_RCC_GPIOC_CLK_ENABLE();
  __HAL_RCC_GPIOF_CLK_ENABLE();
  __HAL_RCC_GPIOH_CLK_ENABLE();
  __HAL_RCC_GPIOA_CLK_ENABLE();
  __HAL_RCC_GPIOG_CLK_ENABLE();
  __HAL_RCC_GPIOE_CLK_ENABLE();
  __HAL_RCC_GPIOD_CLK_ENABLE();

  /*Configure GPIO pin Output Level */
  HAL_GPIO_WritePin(SPI5_NSS_GPIO_Port, SPI5_NSS_Pin, GPIO_PIN_RESET);

  /*Configure GPIO pin Output Level */
  HAL_GPIO_WritePin(GPIOA, PAD2_Pin|ANA_EN_Pin, GPIO_PIN_RESET);

  /*Configure GPIO pin Output Level */
  HAL_GPIO_WritePin(GPIOD, CODEC_NRST_Pin|RED_Pin|GREEN_Pin, GPIO_PIN_RESET);

  /*Configure GPIO pin Output Level */
  HAL_GPIO_WritePin(BLUE_GPIO_Port, BLUE_Pin, GPIO_PIN_RESET);

  /*Configure GPIO pin Output Level */
  HAL_GPIO_WritePin(FMC_NBL0_GPIO_Port, FMC_NBL0_Pin, GPIO_PIN_RESET);

  /*Configure GPIO pin : SPI5_NSS_Pin */
  GPIO_InitStruct.Pin = SPI5_NSS_Pin;
  GPIO_InitStruct.Mode = GPIO_MODE_OUTPUT_PP;
  GPIO_InitStruct.Pull = GPIO_NOPULL;
  GPIO_InitStruct.Speed = GPIO_SPEED_FREQ_LOW;
  HAL_GPIO_Init(SPI5_NSS_GPIO_Port, &GPIO_InitStruct);

  /*Configure GPIO pins : PAD2_Pin ANA_EN_Pin */
  GPIO_InitStruct.Pin = PAD2_Pin|ANA_EN_Pin;
  GPIO_InitStruct.Mode = GPIO_MODE_OUTPUT_PP;
  GPIO_InitStruct.Pull = GPIO_NOPULL;
  GPIO_InitStruct.Speed = GPIO_SPEED_FREQ_LOW;
  HAL_GPIO_Init(GPIOA, &GPIO_InitStruct);

  /*Configure GPIO pins : CODEC_NRST_Pin RED_Pin GREEN_Pin */
  GPIO_InitStruct.Pin = CODEC_NRST_Pin|RED_Pin|GREEN_Pin;
  GPIO_InitStruct.Mode = GPIO_MODE_OUTPUT_PP;
  GPIO_InitStruct.Pull = GPIO_NOPULL;
  GPIO_InitStruct.Speed = GPIO_SPEED_FREQ_LOW;
  HAL_GPIO_Init(GPIOD, &GPIO_InitStruct);

  /*Configure GPIO pin : BLUE_Pin */
  GPIO_InitStruct.Pin = BLUE_Pin;
  GPIO_InitStruct.Mode = GPIO_MODE_OUTPUT_PP;
  GPIO_InitStruct.Pull = GPIO_NOPULL;
  GPIO_InitStruct.Speed = GPIO_SPEED_FREQ_LOW;
  HAL_GPIO_Init(BLUE_GPIO_Port, &GPIO_InitStruct);

  /*Configure GPIO pin : FMC_NBL0_Pin */
  GPIO_InitStruct.Pin = FMC_NBL0_Pin;
  GPIO_InitStruct.Mode = GPIO_MODE_OUTPUT_PP;
  GPIO_InitStruct.Pull = GPIO_NOPULL;
  GPIO_InitStruct.Speed = GPIO_SPEED_FREQ_LOW;
  HAL_GPIO_Init(FMC_NBL0_GPIO_Port, &GPIO_InitStruct);

}

void _Error_Handler(char *file, int line)
{
  /* USER CODE BEGIN Error_Handler_Debug */
	RED_GPIO_Port->BSRRH = RED_Pin;
  /* User can add his own implementation to report the HAL error return state */
  while(1)
  {
  }
  /* USER CODE END Error_Handler_Debug */
}

/************************ (C) COPYRIGHT STMicroelectronics *****END OF FILE****/
